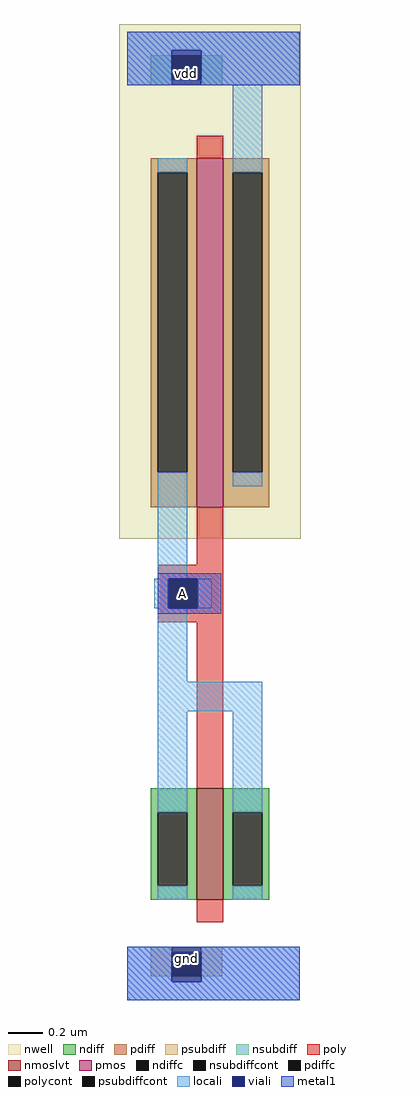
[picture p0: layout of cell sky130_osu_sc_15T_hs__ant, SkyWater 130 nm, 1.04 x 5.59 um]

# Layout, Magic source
magic
tech sky130A
magscale 1 2
<< nwell >>
rect -9 529 199 1119
<< nmoslvt >>
rect 80 115 110 243
<< pmos >>
rect 80 565 110 965
<< ndiff >>
rect 27 215 80 243
rect 27 131 35 215
rect 69 131 80 215
rect 27 115 80 131
rect 110 215 163 243
rect 110 131 121 215
rect 155 131 163 215
rect 110 115 163 131
<< pdiff >>
rect 27 949 80 965
rect 27 605 35 949
rect 69 605 80 949
rect 27 565 80 605
rect 110 949 163 965
rect 110 605 121 949
rect 155 605 163 949
rect 110 565 163 605
<< ndiffc >>
rect 35 131 69 215
rect 121 131 155 215
<< pdiffc >>
rect 35 605 69 949
rect 121 605 155 949
<< psubdiff >>
rect 27 27 51 61
rect 85 27 109 61
<< nsubdiff >>
rect 27 1049 51 1083
rect 85 1049 109 1083
<< psubdiffcont >>
rect 51 27 85 61
<< nsubdiffcont >>
rect 51 1049 85 1083
<< poly >>
rect 80 965 110 991
rect 80 499 110 565
rect 35 483 110 499
rect 35 449 47 483
rect 81 449 110 483
rect 35 433 110 449
rect 80 243 110 433
rect 80 89 110 115
<< polycont >>
rect 47 449 81 483
<< locali >>
rect 0 1089 198 1110
rect 0 1049 51 1089
rect 85 1049 198 1089
rect 35 949 69 965
rect 35 483 69 605
rect 121 949 155 1049
rect 121 589 155 605
rect 31 449 47 483
rect 81 449 97 483
rect 35 365 69 449
rect 35 331 155 365
rect 35 215 69 331
rect 35 115 69 131
rect 121 215 155 331
rect 121 115 155 131
rect 0 21 51 61
rect 85 21 198 61
rect 0 0 198 21
<< viali >>
rect 51 1083 85 1089
rect 51 1055 85 1083
rect 47 449 81 483
rect 51 27 85 55
rect 51 21 85 27
<< metal1 >>
rect 0 1089 198 1110
rect 0 1055 51 1089
rect 85 1055 198 1089
rect 0 1049 198 1055
rect 35 483 108 489
rect 35 449 47 483
rect 81 449 108 483
rect 35 443 108 449
rect 0 55 198 61
rect 0 21 51 55
rect 85 21 198 55
rect 0 0 198 21
<< labels >>
rlabel viali 64 466 64 466 1 A
port 1 n
rlabel viali 68 48 68 48 1 gnd
rlabel viali 68 1062 68 1062 1 vdd
<< end >>
